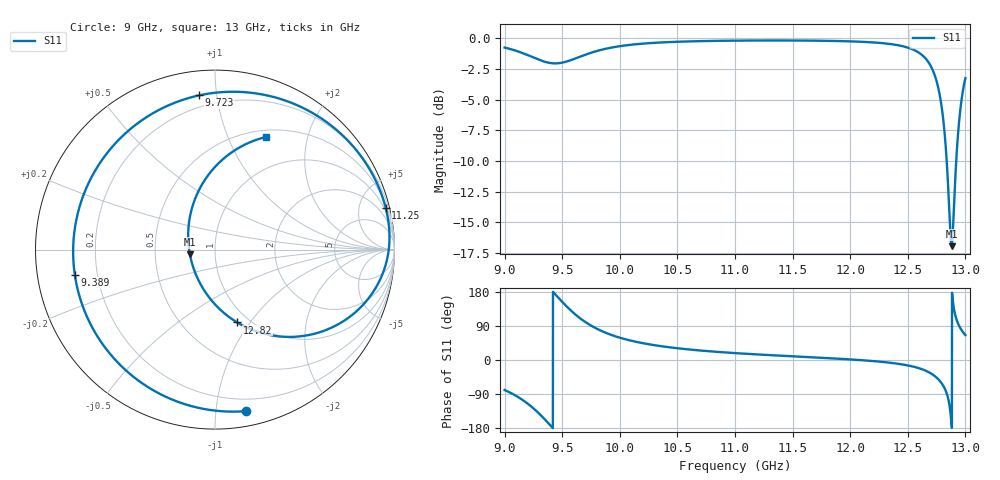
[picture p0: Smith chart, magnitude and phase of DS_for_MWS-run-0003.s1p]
! TOUCHSTONE file generated by CST DESIGN STUDIO
! Date and time: Tue Feb  4 14:02:59 2025
! Project name: C:\Work\MatlabApps\UnitCellOptimizationMatlab\CST\unitcell.cst
! Tree item: Tasks\Sweep1\SPara1\S-Parameters
! Header version: 2024
! Port assignment regex: !\s*Touchstone port\s*([0-9]+)\s*=\s*(CST MWS port|CST DES external port|CST DES block port)\s*(.+)\s* \(\"(.*)\"\)(\s*mode\s*([0-9]+))?.*
! Touchstone port assignment:
! Touchstone port 1 = CST DES external port 1 ("")
# GHz S MA R 50
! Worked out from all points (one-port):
!   4001 points, 9 GHz to 13 GHz, reference 50 ohm
!   lowest |S11| = -16.9 dB at 12.88 GHz (marker M1), VSWR 1.33, Z = 37.7 - j2.03 ohm
!   |S11| at or under -10 dB: 12.84 GHz to 12.92 GHz (82.3 MHz wide, 0.639 % of centre)
!   S11 on the Smith chart (normalised r, x): 9 GHz: 0.11, -1.20; 9.389 GHz: 0.12, -0.09; 9.723 GHz: 0.13, +0.89; 11.25 GHz: 0.74, +8.26; 12.82 GHz: 0.88, -0.87; 13 GHz: 0.58, +1.38
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9  0.9162 -79.2
9.115  0.884 -97.4
9.208  0.8506 -117.0
9.294  0.8185 -139.8
9.389  0.7936 -169.7
9.444  0.7898 171.8
9.5  0.7953 153.4
9.609  0.8252 121.5
9.723  0.8639 95.8
9.857  0.9012 74.5
10  0.9281 58.9
10.216  0.9518 43.5
10.5  0.9673 31.0
11  0.9776 18.2
11.251  0.9791 13.7
11.5  0.9788 9.7
12  0.971 1.5
12.5  0.9158 -14.3
12.607  0.8663 -22.6
12.687  0.7885 -33.0
12.765  0.6265 -50.9
12.817  0.424 -73.1
12.866  0.1736 -128.3
12.88  0.1424 -169.3
12.893  0.1702 151.5
12.91  0.2563 120.8
12.945  0.4563 90.5
13  0.688 65.7
